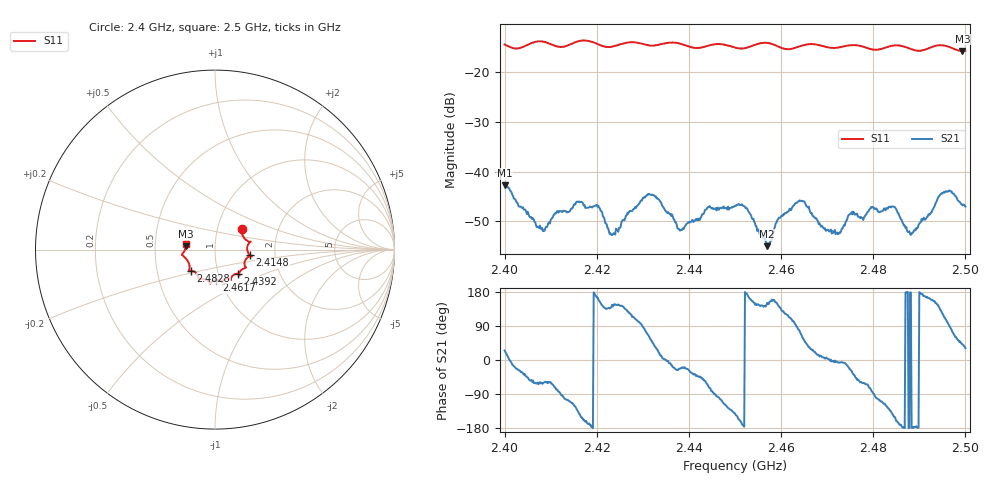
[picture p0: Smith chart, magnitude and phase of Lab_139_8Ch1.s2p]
# Hz S RI R 50
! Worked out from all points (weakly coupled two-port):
!   601 points, 2.4 GHz to 2.5 GHz, reference 50 ohm
!   highest |S21| = -42.74 dB at 2.4 GHz (marker M1); lowest = -55.0 dB at 2.457 GHz (marker M2)
!   lowest |S11| = -15.7 dB at 2.4993 GHz (marker M3), VSWR 1.39, Z = 36 + j1.45 ohm
!   |S11| at or under -10 dB: start of sweep to end of sweep
!   S12 and S22 are empty: the file has one direction only
!   S11 on the Smith chart (normalised r, x): 2.4 GHz: 1.31, +0.31; 2.4148 GHz: 1.47, -0.09; 2.4392 GHz: 1.24, -0.35; 2.4617 GHz: 0.96, -0.34; 2.4828 GHz: 0.75, -0.18; 2.5 GHz: 0.72, +0.05
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2.4e9  0.1503 0.1154  0.00661 0.00308  0 0  0 0
2.408333e9  0.1983 0.0434  0.00118 -0.00222  0 0  0 0
2.414833e9  0.193 -0.0306  -0.00191 -0.00392  0 0  0 0
2.416667e9  0.2039 -0.0391  -0.00438 -0.00234  0 0  0 0
2.420333e9  0.1858 -0.041  -0.00426 0.00153  0 0  0 0
2.4235e9  0.1644 -0.0754  -0.00182 0.00145  0 0  0 0
2.4305e9  0.155 -0.108  0.00113 0.00536  0 0  0 0
2.433333e9  0.1356 -0.1305  0.0049 0.00199  0 0  0 0
2.439167e9  0.1278 -0.1352  0.00263 -0.00105  0 0  0 0
2.45e9  0.0717 -0.1616  -0.00352 -0.00284  0 0  0 0
2.457e9  0.0445 -0.1917  -0.00155 0.00087  0 0  0 0
2.461667e9  0.00818 -0.1698  -0.00159 0.00366  0 0  0 0
2.4645e9  -0.0229 -0.1832  0.00221 0.00457  0 0  0 0
2.466667e9  -0.0268 -0.1897  0.00341 0.00171  0 0  0 0
2.472333e9  -0.0637 -0.1644  0.00233 -0.000249  0 0  0 0
2.475167e9  -0.0861 -0.1655  0.00335 -0.00174  0 0  0 0
2.482833e9  -0.133 -0.1176  -0.00219 -0.00366  0 0  0 0
2.483333e9  -0.1373 -0.1172  -0.0027 -0.00348  0 0  0 0
2.488167e9  -0.1417 -0.0956  -0.0023 6.84e-05  0 0  0 0
2.495333e9  -0.1835 -0.0257  -0.0026 0.00567  0 0  0 0
2.499333e9  -0.1619 0.0196  0.00344 0.00303  0 0  0 0
2.5e9  -0.1617 0.0315  0.0038 0.0023  0 0  0 0
